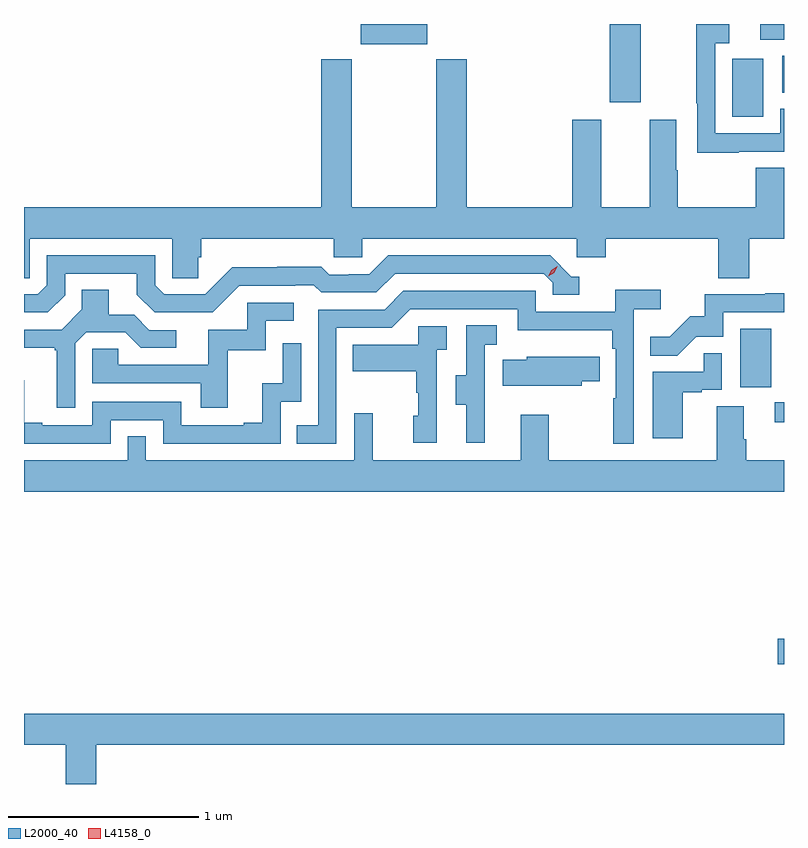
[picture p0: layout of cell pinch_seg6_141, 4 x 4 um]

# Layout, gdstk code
import gdstk
lib = gdstk.Library(unit=1e-6, precision=1e-09)
def R(c, l, rs):  # rectangles x0, y0, x1, y1
    for r in rs: c.add(gdstk.rectangle(r[:2], r[2:], *l))
def P(c, l, *ps):  # polygons
    for p in ps: c.add(gdstk.Polygon(p, *l))
L2000_40 = (2000, 40)
L4158_0 = (4158, 0)

pinch_seg6_141 = lib.new_cell('pinch_seg6_141')
R(pinch_seg6_141, L2000_40, [(1014.486,919.787,1014.52,919.922), (1014.471,921.06,1014.52,921.165), (1014.29,921.246,1014.454,921.553), (1014.248,922.668,1014.412,922.975), (1013.603,922.746,1013.767,923.157), (1014.51,922.795,1014.52,922.989), (1012.292,923.051,1012.642,923.157), (1014.395,923.074,1014.52,923.157)])
P(pinch_seg6_141, L2000_40, [(1014.281,922.485),(1014.52,922.485),(1014.52,922.71),(1014.501,922.71),(1014.501,922.581),(1014.159,922.581),(1014.159,923.055),(1014.232,923.055),(1014.232,923.157),(1014.058,923.157),(1014.058,922.741),(1014.063,922.741),(1014.063,922.48),(1014.281,922.48)],
  [(1010.55,922.028),(1011.3,922.028),(1011.3,921.82),(1011.437,921.82),(1011.437,921.93),(1011.452,921.93),(1011.452,922.028),(1012.149,922.028),(1012.149,921.93),(1012.299,921.93),(1012.299,922.028),(1013.43,922.028),(1013.43,921.93),(1013.582,921.93),(1013.582,922.028),(1014.173,922.028),(1014.173,921.82),(1014.338,921.82),(1014.338,922.028),(1014.52,922.028),(1014.52,922.4),(1014.37,922.4),(1014.37,922.192),(1013.961,922.192),(1013.961,922.388),(1013.953,922.388),(1013.953,922.654),(1013.813,922.654),(1013.813,922.192),(1013.557,922.192),(1013.557,922.654),(1013.405,922.654),(1013.405,922.192),(1012.85,922.192),(1012.85,922.972),(1012.69,922.972),(1012.69,922.192),(1012.245,922.192),(1012.245,922.972),(1012.085,922.972),(1012.085,922.192),(1010.52,922.192),(1010.52,921.82),(1010.55,921.82)],
  [(1010.736,921.729),(1010.736,921.843),(1011.113,921.843),(1011.113,921.733),(1011.207,921.639),(1011.513,921.639),(1011.654,921.78),(1011.947,921.78),(1011.947,921.783),(1012.046,921.783),(1012.085,921.744),(1012.374,921.744),(1012.473,921.843),(1013.256,921.843),(1013.304,921.795),(1013.304,921.732),(1013.443,921.732),(1013.443,921.828),(1013.4,921.828),(1013.289,921.939),(1012.436,921.939),(1012.337,921.84),(1012.23,921.84),(1012.23,921.837),(1012.127,921.837),(1012.085,921.88),(1011.852,921.88),(1011.852,921.877),(1011.616,921.877),(1011.474,921.735),(1011.258,921.735),(1011.21,921.783),(1011.21,921.939),(1010.64,921.939),(1010.64,921.783),(1010.592,921.735),(1010.52,921.735),(1010.52,921.639),(1010.646,921.639)],
  [(1012.164,921.558),(1012.455,921.558),(1012.554,921.657),(1013.118,921.657),(1013.118,921.545),(1013.617,921.545),(1013.617,921.449),(1013.634,921.449),(1013.634,921.188),(1013.622,921.188),(1013.622,920.949),(1013.73,920.949),(1013.73,921.656),(1013.872,921.656),(1013.872,921.758),(1013.633,921.758),(1013.633,921.642),(1013.214,921.642),(1013.214,921.753),(1012.517,921.753),(1012.418,921.654),(1012.068,921.654),(1012.068,921.045),(1011.955,921.045),(1011.955,920.949),(1012.164,920.949)],
  [(1010.79,921.477),(1010.847,921.534),(1011.053,921.534),(1011.134,921.453),(1011.322,921.453),(1011.322,921.546),(1011.18,921.546),(1011.1,921.626),(1010.965,921.626),(1010.965,921.758),(1010.825,921.758),(1010.825,921.656),(1010.718,921.549),(1010.52,921.549),(1010.52,921.452),(1010.682,921.452),(1010.682,921.441),(1010.693,921.441),(1010.693,921.138),(1010.79,921.138)],
  [(1014.057,921.51),(1014.201,921.51),(1014.201,921.639),(1014.52,921.639),(1014.52,921.74),(1014.421,921.74),(1014.421,921.735),(1014.103,921.735),(1014.103,921.618),(1014.026,921.618),(1013.919,921.511),(1013.815,921.511),(1013.815,921.412),(1013.959,921.412)],
  [(1011.593,921.441),(1011.792,921.441),(1011.792,921.594),(1011.94,921.594),(1011.94,921.69),(1011.696,921.69),(1011.696,921.549),(1011.491,921.549),(1011.491,921.363),(1011.017,921.363),(1011.017,921.447),(1010.88,921.447),(1010.88,921.267),(1011.449,921.267),(1011.449,921.138),(1011.593,921.138)],
  [(1012.946,921.165),(1012.944,921.165),(1012.944,921.469),(1013.008,921.469),(1013.008,921.572),(1012.848,921.572),(1012.848,921.309),(1012.793,921.309),(1012.793,921.154),(1012.847,921.154),(1012.847,920.952),(1012.946,920.952)],
  [(1012.692,921.443),(1012.744,921.443),(1012.744,921.567),(1012.596,921.567),(1012.596,921.469),(1012.249,921.469),(1012.249,921.329),(1012.584,921.329),(1012.584,921.215),(1012.594,921.215),(1012.594,921.096),(1012.568,921.096),(1012.568,920.952),(1012.692,920.952)],
  [(1010.976,921.072),(1011.252,921.072),(1011.252,920.949),(1011.87,920.949),(1011.87,921.168),(1011.978,921.168),(1011.978,921.478),(1011.882,921.478),(1011.882,921.266),(1011.773,921.266),(1011.773,921.058),(1011.677,921.058),(1011.677,921.045),(1011.348,921.045),(1011.348,921.168),(1010.88,921.168),(1010.88,921.045),(1010.617,921.045),(1010.617,921.058),(1010.521,921.058),(1010.521,921.283),(1010.52,921.283),(1010.52,920.949),(1010.976,920.949)],
  [(1013.986,921.219),(1014.086,921.219),(1014.086,921.231),(1014.192,921.231),(1014.192,921.425),(1014.097,921.425),(1014.097,921.327),(1013.828,921.327),(1013.828,920.976),(1013.986,920.976)],
  [(1013.455,921.277),(1013.549,921.277),(1013.549,921.405),(1013.438,921.405),(1013.438,921.406),(1013.166,921.406),(1013.166,921.391),(1013.041,921.391),(1013.041,921.254),(1013.455,921.254)],
  [(1014.52,920.86),(1014.32,920.86),(1014.32,920.972),(1014.307,920.972),(1014.307,921.146),(1014.167,921.146),(1014.167,920.86),(1013.283,920.86),(1013.283,921.1),(1013.135,921.1),(1013.135,920.86),(1012.355,920.86),(1012.355,921.109),(1012.257,921.109),(1012.257,920.86),(1011.162,920.86),(1011.162,920.987),(1011.066,920.987),(1011.066,920.86),(1010.52,920.86),(1010.52,920.696),(1014.52,920.696)],
  [(1010.9,919.364),(1014.52,919.364),(1014.52,919.528),(1010.52,919.528),(1010.52,919.364),(1010.74,919.364),(1010.74,919.157),(1010.9,919.157)])
P(pinch_seg6_141, L4158_0, [(1013.28,921.83),(1013.28,921.83),(1013.296,921.862),(1013.326,921.881),(1013.326,921.881),(1013.326,921.881),(1013.31,921.849),(1013.28,921.83)])

lib.write_gds('pinch_seg6_141.gds')
